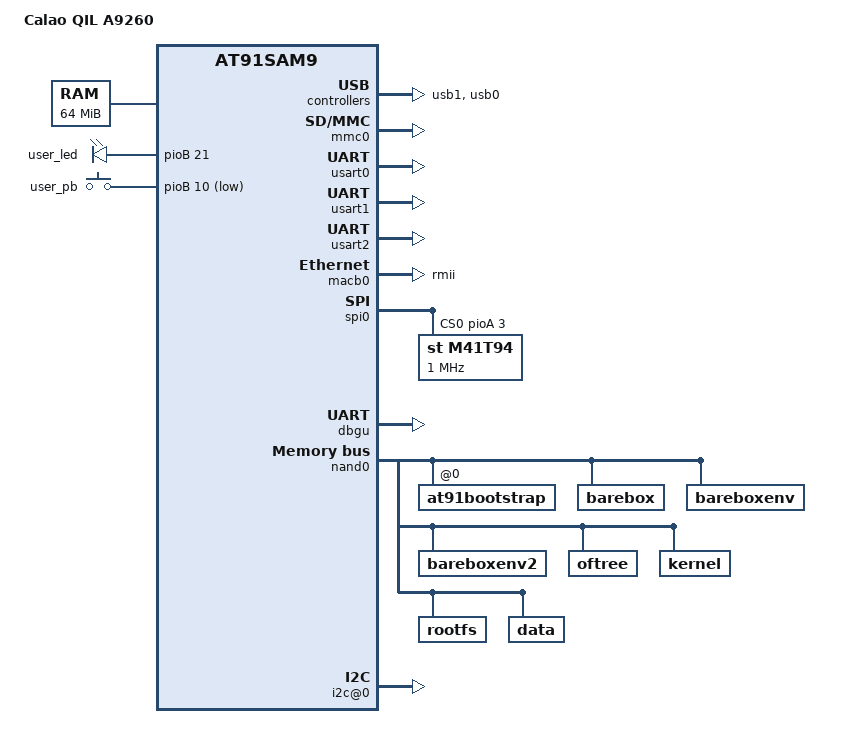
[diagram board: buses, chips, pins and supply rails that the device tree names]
/*
 * at91-qil_a9260.dts - Device Tree file for Calao QIL A9260 board
 *
 * Copyright (C) 2011-2013 Jean-Christophe PLAGNIOL-VILLARD <plagnioj@jcrosoft.com>
 *
 * Licensed under GPLv2.
 */
/dts-v1/;
#include "at91sam9260.dtsi"
/ {
	model = "Calao QIL A9260";
	compatible = "calao,qil-a9260", "atmel,at91sam9260", "atmel,at91sam9";

	chosen {
		bootargs = "console=ttyS0,115200";
	};

	memory {
		reg = <0x20000000 0x4000000>;
	};

	clocks {
		#address-cells = <1>;
		#size-cells = <1>;
		ranges;

		main_clock: clock@0 {
			compatible = "atmel,osc", "fixed-clock";
			clock-frequency = <12000000>;
		};

		slow_xtal {
			clock-frequency = <32768>;
		};

		main_xtal {
			clock-frequency = <12000000>;
		};
	};

	ahb {
		apb {
			usb1: gadget@fffa4000 {
				atmel,vbus-gpio = <&pioC 5 GPIO_ACTIVE_HIGH>;
				status = "okay";
			};

			mmc0: mmc@fffa8000 {
				pinctrl-0 = <
					&pinctrl_mmc0_clk
					&pinctrl_mmc0_slot0_cmd_dat0
					&pinctrl_mmc0_slot0_dat1_3>;
				status = "okay";
				slot@0 {
					reg = <0>;
					bus-width = <4>;
				};
			};

			usart0: serial@fffb0000 {
				pinctrl-0 =
					<&pinctrl_usart0
					 &pinctrl_usart0_rts
					 &pinctrl_usart0_cts
					 &pinctrl_usart0_dtr_dsr
					 &pinctrl_usart0_dcd
					 &pinctrl_usart0_ri>;
				status = "okay";
			};

			usart1: serial@fffb4000 {
				pinctrl-0 =
					<&pinctrl_usart1
					 &pinctrl_usart1_rts
					 &pinctrl_usart1_cts>;
				status = "okay";
			};

			usart2: serial@fffb8000 {
				pinctrl-0 =
					<&pinctrl_usart2
					 &pinctrl_usart2_rts
					 &pinctrl_usart2_cts>;
				status = "okay";
			};

			macb0: ethernet@fffc4000 {
				phy-mode = "rmii";
				status = "okay";
			};

			spi0: spi@fffc8000 {
				status = "okay";
				cs-gpios = <&pioA 3 GPIO_ACTIVE_HIGH>;

				m41t94@0 {
					compatible = "st,m41t94";
					reg = <0>;
					spi-max-frequency = <1000000>;
				};

			};

			dbgu: serial@fffff200 {
				status = "okay";
			};

			shdwc@fffffd10 {
				atmel,wakeup-counter = <10>;
				atmel,wakeup-rtt-timer;
			};
		};

		usb0: ohci@00500000 {
			num-ports = <2>;
			status = "okay";
		};

		nand0: nand@40000000 {
			nand-bus-width = <8>;
			nand-ecc-mode = "soft";
			nand-on-flash-bbt;
			status = "okay";

			at91bootstrap@0 {
				label = "at91bootstrap";
				reg = <0x0 0x20000>;
			};

			barebox@20000 {
				label = "barebox";
				reg = <0x20000 0x40000>;
			};

			bareboxenv@60000 {
				label = "bareboxenv";
				reg = <0x60000 0x20000>;
			};

			bareboxenv2@80000 {
				label = "bareboxenv2";
				reg = <0x80000 0x20000>;
			};

			oftree@a0000 {
				label = "oftree";
				reg = <0xa0000 0x20000>;
			};

			kernel@c0000 {
				label = "kernel";
				reg = <0xc0000 0x400000>;
			};

			rootfs@4c0000 {
				label = "rootfs";
				reg = <0x4c0000 0x7800000>;
			};

			data@7cc0000 {
				label = "data";
				reg = <0x7cc0000 0x8340000>;
			};
		};
	};

	leds {
		compatible = "gpio-leds";

		user_led {
			label = "user_led";
			gpios = <&pioB 21 GPIO_ACTIVE_HIGH>;
			linux,default-trigger = "heartbeat";
		};
	};

	gpio_keys {
		compatible = "gpio-keys";
		#address-cells = <1>;
		#size-cells = <0>;

		user_pb {
			label = "user_pb";
			gpios = <&pioB 10 GPIO_ACTIVE_LOW>;
			linux,code = <28>;
			wakeup-source;
		};
	};

	i2c@0 {
		status = "okay";
	};
};
